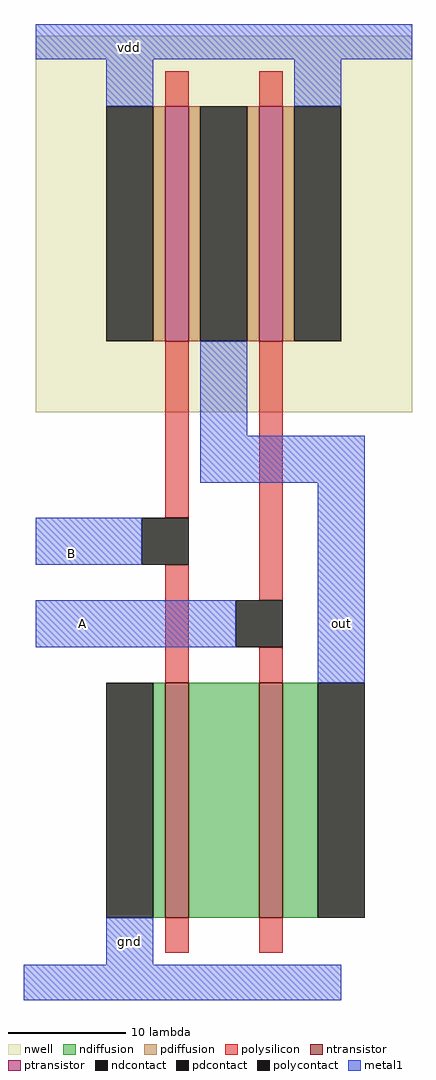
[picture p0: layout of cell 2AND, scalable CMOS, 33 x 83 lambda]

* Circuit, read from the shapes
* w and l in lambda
.subckt 2AND A B gnd out vdd
M1 n1 B gnd VSUBS nfet w=20 l=2
M2 out A n1 VSUBS nfet w=20 l=2
M3 out B vdd n2 pfet w=20 l=2
M4 vdd A out n2 pfet w=20 l=2
.ends

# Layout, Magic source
magic
tech scmos
<< nwell >>
rect 0 0 32 32
<< ntransistor >>
rect 11 -43 13 -23
rect 19 -43 21 -23
<< ptransistor >>
rect 11 6 13 26
rect 19 6 21 26
<< ndiffusion >>
rect 10 -43 11 -23
rect 13 -43 19 -23
rect 21 -43 24 -23
<< pdiffusion >>
rect 10 6 11 26
rect 13 6 14 26
rect 18 6 19 26
rect 21 6 22 26
<< ndcontact >>
rect 6 -43 10 -23
rect 24 -43 28 -23
<< pdcontact >>
rect 6 6 10 26
rect 14 6 18 26
rect 22 6 26 26
<< polysilicon >>
rect 11 26 13 29
rect 19 26 21 29
rect 11 -9 13 6
rect 11 -23 13 -13
rect 19 -16 21 6
rect 19 -23 21 -20
rect 11 -46 13 -43
rect 19 -46 21 -43
<< polycontact >>
rect 9 -13 13 -9
rect 17 -20 21 -16
<< metal1 >>
rect 0 30 32 33
rect 6 26 10 30
rect 22 26 26 30
rect 14 -2 18 6
rect 14 -6 28 -2
rect 0 -13 9 -9
rect 0 -20 17 -16
rect 24 -23 28 -6
rect 6 -47 10 -43
rect -1 -50 26 -47
<< labels >>
rlabel metal1 3 -12 3 -12 3 B
rlabel metal1 4 -18 4 -18 3 A
rlabel metal1 8 -45 8 -45 1 gnd
rlabel metal1 8 31 8 31 5 vdd
rlabel metal1 26 -18 26 -18 1 out
<< end >>
